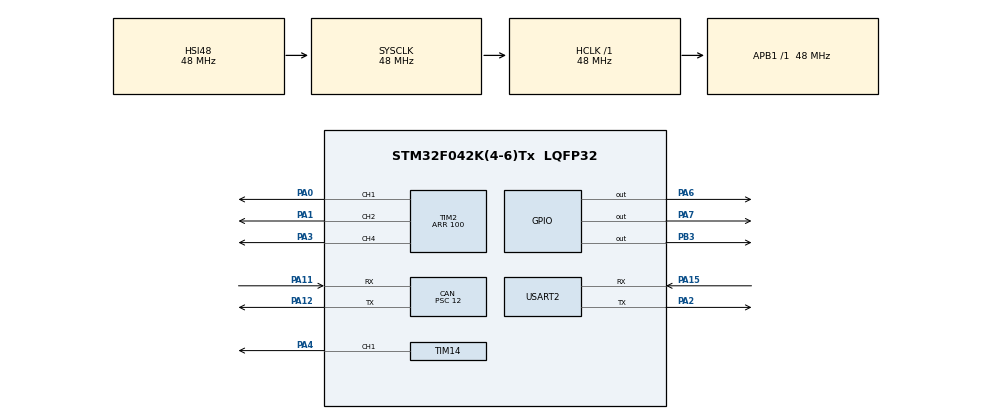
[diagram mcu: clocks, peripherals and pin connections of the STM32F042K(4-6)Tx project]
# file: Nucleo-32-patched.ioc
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CAN.BS1=CAN_BS1_13TQ
CAN.BS2=CAN_BS2_2TQ
CAN.CalculateTimeQuantum=250.0
CAN.Prescaler=12
CAN.SJW=CAN_SJW_2TQ
Mcu.Family=STM32F0
Mcu.Name=STM32F042K(4-6)Tx
Mcu.Package=LQFP32
NVIC.TIM1_BRK_UP_TRG_COM_IRQn=true\:0\:0\:false\:false\:true\:true\:true
NVIC.TIM3_IRQn=true\:0\:0\:false\:false\:true\:true\:true
PA0.Signal=S_TIM2_CH1_ETR
PA1.Signal=S_TIM2_CH2
PA11.Mode=Master
PA11.Signal=CAN_RX
PA12.Mode=Master
PA12.Signal=CAN_TX
PA15.Mode=Asynchronous
PA15.Signal=USART2_RX
PA2.Mode=Asynchronous
PA2.Signal=USART2_TX
PA3.Signal=S_TIM2_CH4
PA4.Signal=S_TIM14_CH1
PA6.Signal=GPIO_Output
PA7.Signal=GPIO_Output
PB3.Signal=GPIO_Output
PF0-OSC_IN.Mode=HSE-External-Oscillator
PF0-OSC_IN.Signal=RCC_OSC_IN
PF1-OSC_OUT.Mode=HSE-External-Oscillator
PF1-OSC_OUT.Signal=RCC_OSC_OUT
ProjectManager.HeapSize=0x200
ProjectManager.StackSize=0x400
ProjectManager.TargetToolchain=STM32CubeIDE
RCC.AHBFreq_Value=48000000
RCC.APB1Freq_Value=48000000
RCC.APB1TimFreq_Value=48000000
RCC.HCLKFreq_Value=48000000
RCC.SYSCLKFreq_VALUE=48000000
RCC.SYSCLKSource=RCC_SYSCLKSOURCE_HSI48
SH.S_TIM14_CH1.0=TIM14_CH1,PWM Generation1 CH1
SH.S_TIM2_CH1_ETR.0=TIM2_CH1,PWM Generation1 CH1
SH.S_TIM2_CH2.0=TIM2_CH2,PWM Generation2 CH2
SH.S_TIM2_CH4.0=TIM2_CH4,PWM Generation4 CH4
TIM1.Period=65535
TIM1.Prescaler=0
TIM1.TIM_MasterOutputTrigger=TIM_TRGO_UPDATE
TIM14.Channel=TIM_CHANNEL_1
TIM14.Period=100
TIM2.Channel-PWM\ Generation1\ CH1=TIM_CHANNEL_1
TIM2.Channel-PWM\ Generation2\ CH2=TIM_CHANNEL_2
TIM2.Channel-PWM\ Generation4\ CH4=TIM_CHANNEL_4
TIM2.Period=100
TIM3.Period=1000
TIM3.Prescaler=48000
TIM3.TIM_MasterOutputTrigger=TIM_TRGO_RESET
USART2.VirtualMode-Asynchronous=VM_ASYNC
VP_TIM14_VS_ClockSourceINT.Mode=Enable_Timer
VP_TIM1_VS_ClockSourceINT.Mode=Internal
VP_TIM2_VS_ClockSourceINT.Mode=Internal
VP_TIM3_VS_ClockSourceINT.Mode=Internal
board=custom

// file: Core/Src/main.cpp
/* USER CODE BEGIN Header */
/**
  ******************************************************************************
  * @file           : main.cpp
  * @brief          : Main program body
  ******************************************************************************
  * This is the STM32 AMP Challenge 02 main program file. It houses the logic
  * for receiving and decoding CAN frames, setting the appropriate states in
  * the Bumper class, handling timer interrupts, and setting pin states.
  *
  * Program flow:
  *   - Initialization of peripherals such as hardware timers and GPIO
  *   - Main program loop:
  *     - Check CAN FiFo via polling
  *       - If frame(s) exist, enter recv handling routines
  *     - Update Bumper class via Bumper brake and signal routines
  *     - Update physical LEDs based on Bumper state
  *
  ******************************************************************************
  */
/* USER CODE END Header */
#include "main.h"

/* USER CODE BEGIN Includes */

// Used for determining current LED states
#include "Bumper.h"

// Common definition file
#include "local_defs.h"

// sprintf
#include <stdio.h>

// Used for verifying functionality w/o CAN network
// Main while loop must be adjusted to use respective recv, polling, and
// PGN checking
// #include "UnitTesting.h"

/* USER CODE END Includes */

CAN_HandleTypeDef hcan;

TIM_HandleTypeDef htim1;
TIM_HandleTypeDef htim2;
TIM_HandleTypeDef htim3;
TIM_HandleTypeDef htim14;

UART_HandleTypeDef huart2;

void SystemClock_Config(void);
static void MX_GPIO_Init(void);
static void MX_TIM1_Init(void);
static void MX_TIM2_Init(void);
static void MX_TIM14_Init(void);
static void MX_CAN_Init(void);
static void MX_TIM3_Init(void);
static void MX_USART2_UART_Init(void);
/* USER CODE BEGIN PFP */
// Routine for handling incoming brake CAN frames, vulnerability exists here
void rx_brake_routine( unsigned char buff[], Bumper *bumper );
// Routine for handling incoming turn signal CAN frames
inline void rx_signal_routine( unsigned char buff[], Bumper *bumper );
/* USER CODE END PFP */

/* USER CODE BEGIN 0 */

// global used for handling the 1 second hardware timer (htim3)
volatile uint32_t second_timer = 0;

// global used for handling the high precision performance metrics timer
volatile uint32_t perf_time = 0;

/* USER CODE END 0 */

int main(void)
{

  /* MCU Configuration--------------------------------------------------------*/

  /* Reset of all peripherals, Initializes the Flash interface and the Systick. */
  HAL_Init();

  /* Configure the system clock */
  SystemClock_Config();

  /* Initialize all configured peripherals */
  MX_GPIO_Init();
  MX_TIM1_Init();
  MX_TIM2_Init();
  MX_TIM14_Init();
  MX_CAN_Init();
  MX_TIM3_Init();
  MX_USART2_UART_Init();
  /* USER CODE BEGIN 2 */

  // Start up PWM Channels for bumper LEDS
  HAL_TIM_PWM_Start( &htim2, TIM_CHANNEL_1);
  HAL_TIM_PWM_Start( &htim2, TIM_CHANNEL_2);
  HAL_TIM_PWM_Start( &htim14, TIM_CHANNEL_1);
  HAL_TIM_PWM_Start( &htim2, TIM_CHANNEL_4);

  // Start hardware timers
  HAL_TIM_Base_Start_IT(&htim1);
  HAL_TIM_Base_Start_IT(&htim2);
  HAL_TIM_Base_Start_IT(&htim3);
  HAL_TIM_Base_Start_IT(&htim14);

  // Initialize bumper
  Bumper bumper( &htim3, &second_timer ); // htim3; 1 second timer with TicksPerSecond as the counter period (manually updated localdefs.h)

  // For CAN Recv function
  CAN_RxHeaderTypeDef RxHeader;
  uint8_t RxData[8];
  /* USER CODE END 2 */

  /* Infinite loop */
  /* USER CODE BEGIN WHILE */
  uint32_t perf_local_time = 0;  // variable to keep track of relative time (performance)
  char text[100] = "";           // Used in serial printing of time elapsed
  // Under an oscilloscope, the rx_functions take a minimium of 2 - ~3.5 micro seconds
  // depending on configuration (minus 1 micro second for GPIO toggle). This was measured
  // by toggling a pin High and then low before and after function execution. A timer
  // was later used for ease of use in case an oscilloscope was not available.
  while (1)
  {
	if (HAL_CAN_GetRxFifoFillLevel(&hcan, CAN_RX_FIFO0) > 0){  // Check CAN FiFo mailbox
		// get the first frame in the queue
		HAL_CAN_GetRxMessage(&hcan, CAN_RX_FIFO0, &RxHeader, RxData);
		// Toggle RED LED on board
		HAL_GPIO_TogglePin(GPIOA,GPIO_PIN_7);

		// Check PGN value in EXT ID portion of header
		if (((RxHeader.ExtId >> 8) & 0x7FFFF) == PGN_CruiseControlVehicleSpeed1 ){
			perf_local_time = perf_time + __HAL_TIM_GET_COUNTER(&htim1);

			rx_brake_routine(RxData, &bumper);

			perf_local_time = (perf_time + __HAL_TIM_GET_COUNTER(&htim1)) - perf_local_time;
			sprintf(text, "rx_brake_routine=%lu\r\n", (unsigned long)perf_local_time);
			HAL_UART_Transmit(&huart2, (uint8_t*)text, sizeof(text), 20);
		}

		if (((RxHeader.ExtId >> 8) & 0x7FFFF) == PGN_OperatorsExternalLightControls){
			perf_local_time = perf_time + __HAL_TIM_GET_COUNTER(&htim1);

			rx_signal_routine(RxData, &bumper);

			perf_local_time = (perf_time + __HAL_TIM_GET_COUNTER(&htim1)) - perf_local_time;
			sprintf(text, "rx_signal_routine=%lu\r\n", (unsigned long)perf_local_time);
			HAL_UART_Transmit(&huart2, (uint8_t*)text, sizeof(text), 20);
		}
	}
    /* USER CODE END WHILE */

    /* USER CODE BEGIN 3 */
	  // run bumper update routines. These update LED states based on bumper state.
	  bumper.turn_signal_routine();
	  bumper.brake_routine();

	  // Change PWM compare registers in relation to bumper state
	  htim2.Instance->CCR1 = (bumper.outer_left) ? PWM_HIGH : PWM_LOW;
	  htim2.Instance->CCR2 = (bumper.inner_left) ? PWM_HIGH : PWM_LOW;
	  htim2.Instance->CCR4 = (bumper.inner_right) ? PWM_HIGH : PWM_LOW;
	  htim14.Instance->CCR1 = (bumper.outer_right) ? PWM_HIGH : PWM_LOW;
  }
  /* USER CODE END 3 */
}

void SystemClock_Config(void)
{
  RCC_OscInitTypeDef RCC_OscInitStruct = {0};
  RCC_ClkInitTypeDef RCC_ClkInitStruct = {0};

  /** Initializes the RCC Oscillators according to the specified parameters
  * in the RCC_OscInitTypeDef structure.
  */
  RCC_OscInitStruct.OscillatorType = RCC_OSCILLATORTYPE_HSI48;
  RCC_OscInitStruct.HSI48State = RCC_HSI48_ON;
  RCC_OscInitStruct.PLL.PLLState = RCC_PLL_NONE;
  if (HAL_RCC_OscConfig(&RCC_OscInitStruct) != HAL_OK)
  {
    Error_Handler();
  }
  /** Initializes the CPU, AHB and APB buses clocks
  */
  RCC_ClkInitStruct.ClockType = RCC_CLOCKTYPE_HCLK|RCC_CLOCKTYPE_SYSCLK
                              |RCC_CLOCKTYPE_PCLK1;
  RCC_ClkInitStruct.SYSCLKSource = RCC_SYSCLKSOURCE_HSI48;
  RCC_ClkInitStruct.AHBCLKDivider = RCC_SYSCLK_DIV1;
  RCC_ClkInitStruct.APB1CLKDivider = RCC_HCLK_DIV1;

  if (HAL_RCC_ClockConfig(&RCC_ClkInitStruct, FLASH_LATENCY_1) != HAL_OK)
  {
    Error_Handler();
  }
}

static void MX_CAN_Init(void)
{

  hcan.Instance = CAN;
  hcan.Init.Prescaler = 12;
  hcan.Init.Mode = CAN_MODE_NORMAL;
  hcan.Init.SyncJumpWidth = CAN_SJW_2TQ;
  hcan.Init.TimeSeg1 = CAN_BS1_13TQ;
  hcan.Init.TimeSeg2 = CAN_BS2_2TQ;
  hcan.Init.TimeTriggeredMode = DISABLE;
  hcan.Init.AutoBusOff = DISABLE;
  hcan.Init.AutoWakeUp = DISABLE;
  hcan.Init.AutoRetransmission = DISABLE;
  hcan.Init.ReceiveFifoLocked = DISABLE;
  hcan.Init.TransmitFifoPriority = DISABLE;
  if (HAL_CAN_Init(&hcan) != HAL_OK)
  {
    Error_Handler();
  }
  /* USER CODE BEGIN CAN_Init 2 */

  // Create and start CAN filter, start up CAN
  CAN_FilterTypeDef sFilterConfig = {0};
  sFilterConfig.FilterBank = 0;
  sFilterConfig.FilterMode = CAN_FILTERMODE_IDMASK;
  sFilterConfig.FilterScale = CAN_FILTERSCALE_32BIT;
  sFilterConfig.FilterIdHigh = 0x0000;
  sFilterConfig.FilterIdLow = 0x0000;
  sFilterConfig.FilterMaskIdHigh = 0x0000;
  sFilterConfig.FilterMaskIdHigh = 0x0000;
  sFilterConfig.FilterFIFOAssignment = CAN_RX_FIFO0;
  sFilterConfig.FilterActivation = ENABLE;
  sFilterConfig.SlaveStartFilterBank = 14;

  if (HAL_CAN_ConfigFilter(&hcan, &sFilterConfig) != HAL_OK){
	  Error_Handler();
  }

  if (HAL_CAN_Start(&hcan) != HAL_OK) {
	  Error_Handler();
  }

  /* USER CODE END CAN_Init 2 */

}

static void MX_TIM1_Init(void)
{

  /* USER CODE BEGIN TIM1_Init 0 */

	/*
	 * This timer is used for the high precision performance metrics
	 * There is no prescaling done, and the period is the max allowed
	 */
  /* USER CODE END TIM1_Init 0 */

  TIM_ClockConfigTypeDef sClockSourceConfig = {0};
  TIM_MasterConfigTypeDef sMasterConfig = {0};

  htim1.Instance = TIM1;
  htim1.Init.Prescaler = 0;
  htim1.Init.CounterMode = TIM_COUNTERMODE_UP;
  htim1.Init.Period = 65535;
  htim1.Init.ClockDivision = TIM_CLOCKDIVISION_DIV1;
  htim1.Init.RepetitionCounter = 0;
  htim1.Init.AutoReloadPreload = TIM_AUTORELOAD_PRELOAD_DISABLE;
  if (HAL_TIM_Base_Init(&htim1) != HAL_OK)
  {
    Error_Handler();
  }
  sClockSourceConfig.ClockSource = TIM_CLOCKSOURCE_INTERNAL;
  if (HAL_TIM_ConfigClockSource(&htim1, &sClockSourceConfig) != HAL_OK)
  {
    Error_Handler();
  }
  sMasterConfig.MasterOutputTrigger = TIM_TRGO_UPDATE;
  sMasterConfig.MasterSlaveMode = TIM_MASTERSLAVEMODE_DISABLE;
  if (HAL_TIMEx_MasterConfigSynchronization(&htim1, &sMasterConfig) != HAL_OK)
  {
    Error_Handler();
  }
  /* USER CODE BEGIN TIM1_Init 2 */
  HAL_TIM_MspPostInit(&htim1);

  /* USER CODE END TIM1_Init 2 */

}

static void MX_TIM2_Init(void)
{

  /* USER CODE BEGIN TIM2_Init 0 */
	/*
	 * PWM Channel timer for the first 3 LEDs
	 */
  /* USER CODE END TIM2_Init 0 */

  TIM_ClockConfigTypeDef sClockSourceConfig = {0};
  TIM_MasterConfigTypeDef sMasterConfig = {0};
  TIM_OC_InitTypeDef sConfigOC = {0};

  htim2.Instance = TIM2;
  htim2.Init.Prescaler = 0;
  htim2.Init.CounterMode = TIM_COUNTERMODE_UP;
  htim2.Init.Period = 100;
  htim2.Init.ClockDivision = TIM_CLOCKDIVISION_DIV1;
  htim2.Init.AutoReloadPreload = TIM_AUTORELOAD_PRELOAD_DISABLE;
  if (HAL_TIM_Base_Init(&htim2) != HAL_OK)
  {
    Error_Handler();
  }
  sClockSourceConfig.ClockSource = TIM_CLOCKSOURCE_INTERNAL;
  if (HAL_TIM_ConfigClockSource(&htim2, &sClockSourceConfig) != HAL_OK)
  {
    Error_Handler();
  }
  if (HAL_TIM_PWM_Init(&htim2) != HAL_OK)
  {
    Error_Handler();
  }
  sMasterConfig.MasterOutputTrigger = TIM_TRGO_RESET;
  sMasterConfig.MasterSlaveMode = TIM_MASTERSLAVEMODE_DISABLE;
  if (HAL_TIMEx_MasterConfigSynchronization(&htim2, &sMasterConfig) != HAL_OK)
  {
    Error_Handler();
  }
  sConfigOC.OCMode = TIM_OCMODE_PWM1;
  sConfigOC.Pulse = 0;
  sConfigOC.OCPolarity = TIM_OCPOLARITY_HIGH;
  sConfigOC.OCFastMode = TIM_OCFAST_DISABLE;
  if (HAL_TIM_PWM_ConfigChannel(&htim2, &sConfigOC, TIM_CHANNEL_1) != HAL_OK)
  {
    Error_Handler();
  }
  if (HAL_TIM_PWM_ConfigChannel(&htim2, &sConfigOC, TIM_CHANNEL_2) != HAL_OK)
  {
    Error_Handler();
  }
  if (HAL_TIM_PWM_ConfigChannel(&htim2, &sConfigOC, TIM_CHANNEL_4) != HAL_OK)
  {
    Error_Handler();
  }
  HAL_TIM_MspPostInit(&htim2);

}

static void MX_TIM3_Init(void)
{

  /* USER CODE BEGIN TIM3_Init 0 */
	/*
	 * Whole second timer. Current config has step resolution of
	 * 1/1000 of a second (millisecond). The period is 999, which
	 * gives 1000 steps (0 indexed) before an interrupt is triggered.
	 * This timer is used so brake and turn signal flashing flash
	 * at and for the appropriate length of time.
	 */
  /* USER CODE END TIM3_Init 0 */

  TIM_ClockConfigTypeDef sClockSourceConfig = {0};
  TIM_MasterConfigTypeDef sMasterConfig = {0};

  htim3.Instance = TIM3;
  htim3.Init.Prescaler = 48000;
  htim3.Init.CounterMode = TIM_COUNTERMODE_UP;
  htim3.Init.Period = 1000;
  htim3.Init.ClockDivision = TIM_CLOCKDIVISION_DIV1;
  htim3.Init.AutoReloadPreload = TIM_AUTORELOAD_PRELOAD_DISABLE;
  if (HAL_TIM_Base_Init(&htim3) != HAL_OK)
  {
    Error_Handler();
  }
  sClockSourceConfig.ClockSource = TIM_CLOCKSOURCE_INTERNAL;
  if (HAL_TIM_ConfigClockSource(&htim3, &sClockSourceConfig) != HAL_OK)
  {
    Error_Handler();
  }
  sMasterConfig.MasterOutputTrigger = TIM_TRGO_RESET;
  sMasterConfig.MasterSlaveMode = TIM_MASTERSLAVEMODE_DISABLE;
  if (HAL_TIMEx_MasterConfigSynchronization(&htim3, &sMasterConfig) != HAL_OK)
  {
    Error_Handler();
  }

}

static void MX_TIM14_Init(void)
{

  /* USER CODE BEGIN TIM14_Init 0 */
	/*
	 * Timer channel used for the 4th LED,
	 * configured the same as TIM2.
	 */
  /* USER CODE END TIM14_Init 0 */

  TIM_OC_InitTypeDef sConfigOC = {0};

  htim14.Instance = TIM14;
  htim14.Init.Prescaler = 0;
  htim14.Init.CounterMode = TIM_COUNTERMODE_UP;
  htim14.Init.Period = 100;
  htim14.Init.ClockDivision = TIM_CLOCKDIVISION_DIV1;
  htim14.Init.AutoReloadPreload = TIM_AUTORELOAD_PRELOAD_DISABLE;
  if (HAL_TIM_Base_Init(&htim14) != HAL_OK)
  {
    Error_Handler();
  }
  if (HAL_TIM_PWM_Init(&htim14) != HAL_OK)
  {
    Error_Handler();
  }
  sConfigOC.OCMode = TIM_OCMODE_PWM1;
  sConfigOC.Pulse = 0;
  sConfigOC.OCPolarity = TIM_OCPOLARITY_HIGH;
  sConfigOC.OCFastMode = TIM_OCFAST_DISABLE;
  if (HAL_TIM_PWM_ConfigChannel(&htim14, &sConfigOC, TIM_CHANNEL_1) != HAL_OK)
  {
    Error_Handler();
  }
  HAL_TIM_MspPostInit(&htim14);

}

static void MX_USART2_UART_Init(void)
{

  /* USER CODE BEGIN USART2_Init 0 */
	/*
	 * This UART channel is used to transmit serial data
	 * over the USB ST-Link line. It is being used to send
	 * performance metrics.
	 */
  /* USER CODE END USART2_Init 0 */

  huart2.Instance = USART2;
  huart2.Init.BaudRate = 38400;
  huart2.Init.WordLength = UART_WORDLENGTH_8B;
  huart2.Init.StopBits = UART_STOPBITS_1;
  huart2.Init.Parity = UART_PARITY_NONE;
  huart2.Init.Mode = UART_MODE_TX_RX;
  huart2.Init.HwFlowCtl = UART_HWCONTROL_NONE;
  huart2.Init.OverSampling = UART_OVERSAMPLING_16;
  huart2.Init.OneBitSampling = UART_ONE_BIT_SAMPLE_DISABLE;
  huart2.AdvancedInit.AdvFeatureInit = UART_ADVFEATURE_NO_INIT;
  if (HAL_UART_Init(&huart2) != HAL_OK)
  {
    Error_Handler();
  }

}

static void MX_GPIO_Init(void)
{
  GPIO_InitTypeDef GPIO_InitStruct = {0};

  /* GPIO Ports Clock Enable */
  __HAL_RCC_GPIOF_CLK_ENABLE();
  __HAL_RCC_GPIOA_CLK_ENABLE();
  __HAL_RCC_GPIOB_CLK_ENABLE();

  /*Configure GPIO pin Output Level */
  HAL_GPIO_WritePin(GPIOA, GPIO_PIN_6|GPIO_PIN_7, GPIO_PIN_RESET);

  /*Configure GPIO pin Output Level */
  HAL_GPIO_WritePin(GPIOB, GPIO_PIN_3, GPIO_PIN_RESET);

  /*Configure GPIO pins : PA6 PA7 */
  GPIO_InitStruct.Pin = GPIO_PIN_6|GPIO_PIN_7;
  GPIO_InitStruct.Mode = GPIO_MODE_OUTPUT_PP;
  GPIO_InitStruct.Pull = GPIO_NOPULL;
  GPIO_InitStruct.Speed = GPIO_SPEED_FREQ_LOW;
  HAL_GPIO_Init(GPIOA, &GPIO_InitStruct);

  /*Configure GPIO pin : PB3 */
  GPIO_InitStruct.Pin = GPIO_PIN_3;
  GPIO_InitStruct.Mode = GPIO_MODE_OUTPUT_PP;
  GPIO_InitStruct.Pull = GPIO_NOPULL;
  GPIO_InitStruct.Speed = GPIO_SPEED_FREQ_LOW;
  HAL_GPIO_Init(GPIOB, &GPIO_InitStruct);

}

/* USER CODE BEGIN 4 */
/**
  * @brief  Handles a CAN data frame associated with PGN 65265, containing SPN 84, 597 and updates the corresponding Bumper
  * 		class. This function is structured slightly different than the turn signal function. More of it's update
  * 		logic is done here within the main file, to avoid calling a setter function directly. This limits the
  * 		vulnerability strictly to this function, so the fix will only be the type def here.
  *
  * @param  buff: The buffer containing the CAN data
  * @param  bumper: The bumper class to be updated
  * @retval None
  */
void rx_brake_routine( unsigned char buff[], Bumper *bumper ){
	uint16_t speed_value;  // vulnerability here
	uint8_t brake_switch;
	// Extract Speed and brake switch from frame
	speed_value  = (buff[3] << 8) + buff[2];  // buf[3] = speed integer, buf[2] = speed decimal
	brake_switch = (buff[4] & 0b00001100) >> 2;
	// update related bumper members
	bumper->brake_state = (brake_switch) ? true : false;

	// This segment would ideally be moved to bumper method
	if (bumper->brake_state) {
		if ((speed_value > 0) && (bumper->prev_brake_state != bumper->brake_state)){  // speed > 0 and brakes were off last
			bumper->flash_lock = true;
			bumper->flash_timer = 0;
		}
	}
	else {
		bumper->flash_lock = false;
	}
	bumper->prev_brake_state = bumper->brake_state;
}

/**
  * @brief  Handles a CAN data frame associated with PGN 64972, containing SPN 2876 and updates the corresponding Bumper
  * 		class. Inlined due to size.
  *
  * @param  buff: The buffer containing the CAN data
  * @param  bumper: The bumper class to be updated
  * @retval None
  */
inline void rx_signal_routine( unsigned char buff[], Bumper *bumper ) {
	bumper->signal = (buff[1] >>4);
}

/**
  * @brief  Interrupt callback for the hardware timers. The timer that threw an interrupt
  * with be the passed parameter. It is checked if it is the second or precision timer
  * and updated accordingly.
  *
  * @param  *htim: The hardware timer responsible for calling this interrupt
  * @retval None
  *
  */
void HAL_TIM_PeriodElapsedCallback(TIM_HandleTypeDef *htim) {
	if (htim == &htim3){
		second_timer += TicksPerSecond;  // Current timer (prescale 480, period of 100,000 gives ~12 hours before int overflow)
		HAL_GPIO_TogglePin(GPIOB, GPIO_PIN_3);
	}
	else if (htim == &htim1){  // Performance timer, used for high precision
		perf_time += 65535;  // will overflow after the 2^16 interrupt, ~6 minutes until overflow
	}
}

/* USER CODE END 4 */

void Error_Handler(void)
{
}

/************************ (C) COPYRIGHT STMicroelectronics *****END OF FILE****/
